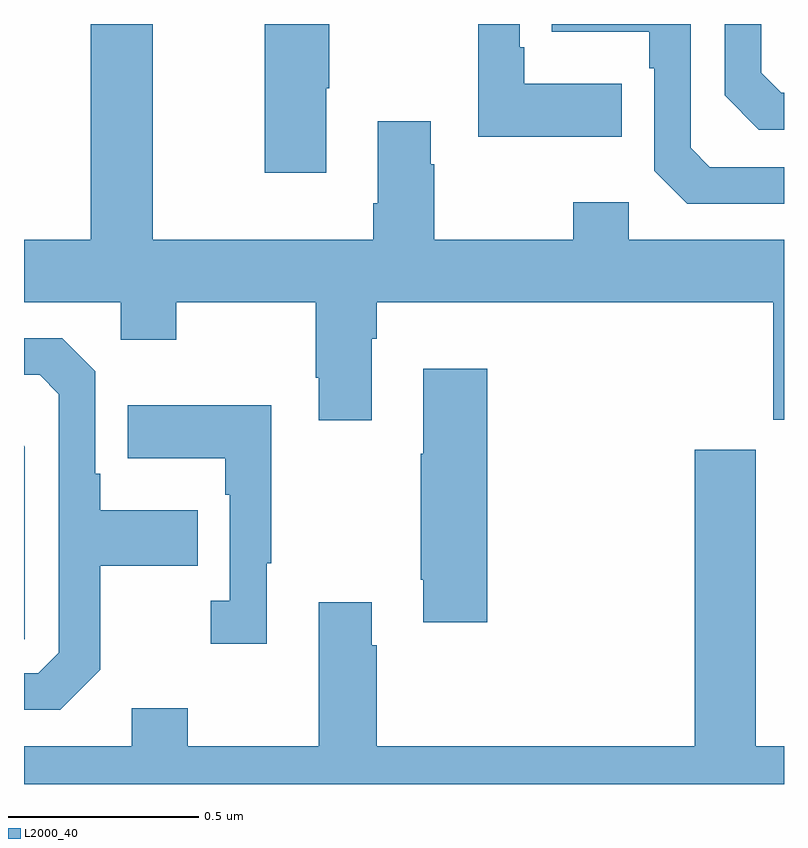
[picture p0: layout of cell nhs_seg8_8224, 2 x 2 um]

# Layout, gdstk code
import gdstk
lib = gdstk.Library(unit=1e-6, precision=1e-09)
def P(c, l, *ps):  # polygons
    for p in ps: c.add(gdstk.Polygon(p, *l))
L2000_40 = (2000, 40)

nhs_seg8_8224 = lib.new_cell('nhs_seg8_8224')
P(nhs_seg8_8224, L2000_40, [(220.915,1115.072),(220.928,1115.072),(220.928,1115.168),(221.972,1115.168),(221.972,1114.859),(222,1114.859),(222,1115.332),(221.592,1115.332),(221.592,1115.431),(221.446,1115.431),(221.446,1115.332),(221.079,1115.332),(221.079,1115.531),(221.071,1115.531),(221.071,1115.644),(220.931,1115.644),(220.931,1115.428),(220.919,1115.428),(220.919,1115.332),(220.339,1115.332),(220.339,1115.9),(220.175,1115.9),(220.175,1115.332),(220,1115.332),(220,1115.168),(220.254,1115.168),(220.254,1115.069),(220.401,1115.069),(220.401,1115.168),(220.768,1115.168),(220.768,1114.969),(220.775,1114.969),(220.775,1114.857),(220.915,1114.857)],
  [(220.795,1115.731),(220.803,1115.731),(220.803,1115.9),(220.633,1115.9),(220.633,1115.508),(220.795,1115.508)],
  [(222,1115.719),(221.993,1115.719),(221.94,1115.772),(221.94,1115.9),(221.844,1115.9),(221.844,1115.712),(221.934,1115.622),(222,1115.622)],
  [(221.573,1115.743),(221.317,1115.743),(221.317,1115.839),(221.304,1115.839),(221.304,1115.9),(221.196,1115.9),(221.196,1115.603),(221.573,1115.603)],
  [(222,1115.523),(221.805,1115.523),(221.754,1115.574),(221.754,1115.9),(221.389,1115.9),(221.389,1115.879),(221.646,1115.879),(221.646,1115.783),(221.658,1115.783),(221.658,1115.514),(221.745,1115.427),(222,1115.427)],
  [(220.201,1114.201),(220.201,1114.474),(220.457,1114.474),(220.457,1114.621),(220.201,1114.621),(220.201,1114.717),(220.188,1114.717),(220.188,1114.986),(220.101,1115.073),(220,1115.073),(220,1114.977),(220.041,1114.977),(220.092,1114.926),(220.092,1114.245),(220.038,1114.191),(220,1114.191),(220,1114.095),(220.095,1114.095)],
  [(221.219,1114.993),(221.051,1114.993),(221.051,1114.769),(221.044,1114.769),(221.044,1114.438),(221.051,1114.438),(221.051,1114.326),(221.219,1114.326)],
  [(220.639,1114.481),(220.651,1114.481),(220.651,1114.897),(220.273,1114.897),(220.273,1114.757),(220.53,1114.757),(220.53,1114.661),(220.542,1114.661),(220.542,1114.382),(220.491,1114.382),(220.491,1114.269),(220.639,1114.269)],
  [(220.002,1114.788),(220,1114.79),(220,1114.281),(220.002,1114.281)],
  [(222,1114),(221.925,1114),(221.925,1114.78),(221.765,1114.78),(221.765,1114),(220.928,1114),(220.928,1114.265),(220.915,1114.265),(220.915,1114.378),(220.775,1114.378),(220.775,1114),(220.431,1114),(220.431,1114.099),(220.283,1114.099),(220.283,1114),(220,1114),(220,1113.9),(222,1113.9)])

lib.write_gds('nhs_seg8_8224.gds')
